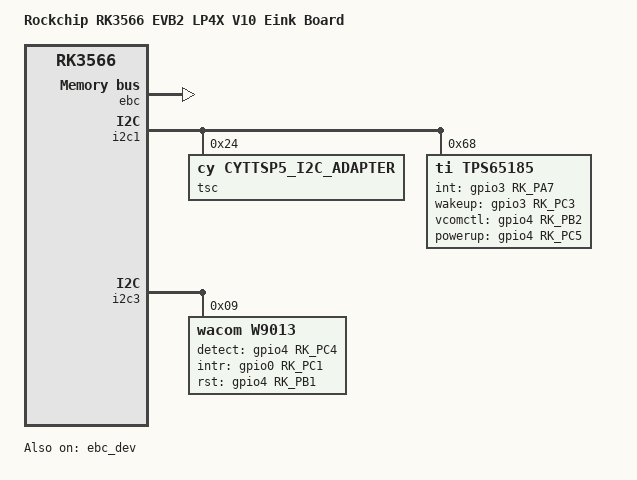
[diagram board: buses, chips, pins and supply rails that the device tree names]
// SPDX-License-Identifier: (GPL-2.0+ OR MIT)
/*
 * Copyright (c) 2020 Rockchip Electronics Co., Ltd.
 *
 */

#include "rk3566-evb2-lp4x-v10.dtsi"
#include "rk3568-android.dtsi"
#include "rk3566-eink.dtsi"

/ {
	model = "Rockchip RK3566 EVB2 LP4X V10 Eink Board";
	compatible = "rockchip,rk3566-evb2-lp4x-v10-eink", "rockchip,rk3566";
};

&backlight {
	status = "disabled";
};

&backlight1 {
	status = "disabled";
};

&dsi0 {
	status = "disabled";
};

&dsi0_in_vp0 {
	status = "disabled";
};

&dsi0_panel {
	status = "disabled";
};

&dsi1_panel {
	status = "disabled";
};

&ebc {
	/* clock rate 1000M/n, (n=1~32) */
	assigned-clocks = <&cru CPLL_333M>, <&cru DCLK_EBC>;
	//assigned-clock-rates = <340000000>, <340000000>;
	assigned-clock-rates = <250000000>, <250000000>;
	//assigned-clock-rates = <100000000>, <100000000>;
	status = "okay";
};

&ebc_dev {
	pmic = <&tps65185>;
	status = "okay";
#if 0
	/* ED097TC2U1 */
	panel,width = <1200>;
	panel,height = <825>;
	panel,vir_width = <1200>;
	panel,vir_height = <825>;
	panel,sdck = <25000000>;
	panel,lsl = <4>;
	panel,lbl = <4>;
	panel,ldl = <300>;
	panel,lel = <36>;
	panel,gdck-sta = <18>;
	panel,lgonl = <265>;
	panel,fsl = <2>;
	panel,fbl = <4>;
	panel,fdl = <825>;
	panel,fel = <24>;
	panel,mirror = <0>;
	panel,panel_16bit = <0>;
	panel,panel_color = <0>;
	panel,width-mm = <203>;
	panel,height-mm = <140>;
#endif
#if 1
	/* ES103TC1 */
	panel,width = <1872>;
	panel,height = <1404>;
	panel,vir_width = <1872>;
	panel,vir_height = <1404>;
	panel,sdck = <33300000>;
	panel,lsl = <18>;
	panel,lbl = <17>;
	panel,ldl = <234>;
	panel,lel = <7>;
	panel,gdck-sta = <34>;
	panel,lgonl = <192>;
	panel,fsl = <1>;
	panel,fbl = <4>;
	panel,fdl = <1404>;
	panel,fel = <12>;
	panel,mirror = <0>;
	panel,panel_16bit = <1>;
	panel,panel_color = <0>;
	panel,width-mm = <157>;
	panel,height-mm = <210>;
#endif
#if 0
	/* ES133TC1 */
	panel,width = <2200>;
	panel,height = <1650>;
	panel,vir_width = <2208>;
	panel,vir_height = <1650>;
	panel,sdck = <37500000>;
	panel,lsl = <4>;
	panel,lbl = <8>;
	panel,ldl = <275>;
	panel,lel = <14>;
	panel,gdck-sta = <34>;
	panel,lgonl = <217>;
	panel,fsl = <1>;
	panel,fbl = <4>;
	panel,fdl = <1650>;
	panel,fel = <6>;
	panel,mirror = <0>;
	panel,panel_16bit = <1>;
	panel,panel_color = <0>;
	panel,width-mm = <157>;
	panel,height-mm = <210>;
#endif
#if 0
	panel,width = <2232>;
	panel,height = <1680>;
	panel,vir_width = <2240>;
	panel,vir_height = <1680>;
	panel,sdck = <33300000>;
	panel,lsl = <4>;
	panel,lbl = <8>;
	panel,ldl = <279>;
	panel,lel = <14>;
	panel,gdck-sta = <34>;
	panel,lgonl = <217>;
	panel,fsl = <1>;
	panel,fbl = <4>;
	panel,fdl = <1680>;
	panel,fel = <6>;
	panel,mirror = <0>;
	panel,panel_16bit = <1>;
	panel,panel_color = <0>;
	panel,width-mm = <157>;
	panel,height-mm = <210>;
#endif
};

&gmac1 {
	status = "disabled";
};

&gt1x {
	status = "disabled";
};

&hdmi {
	status = "disabled";
};

&hdmi_in_vp0 {
	status = "disabled";
};

&hdmi_sound{
	status = "disabled";
};

&i2c1 {
	status = "okay";

	tsc@24 {
		status = "okay";
		compatible = "cy,cyttsp5_i2c_adapter";
		reg = <0x24>;
		cy,adapter_id = "cyttsp5_i2c_adapter";
		//cytp-supply = <&vcc_sd>;
		cy,core {
			cy,name = "cyttsp5_core";
			pinctrl-names = "default";
			pinctrl-0 = <&tsc_gpio>;
			cy,irq_gpio =  <&gpio0 RK_PB5 GPIO_ACTIVE_HIGH>;
			cy,rst_gpio =  <&gpio0 RK_PB6 GPIO_ACTIVE_HIGH>;
			cy,hid_desc_register = <1>;
			/* CY_CORE_FLAG_RESTORE_PARAMETERS */
			cy,flags = <6>;
			/* CY_CORE_EWG_NONE */
			cy,easy_wakeup_gesture = <0>;
			cy,btn_keys = <172 /* KEY_HOMEPAGE */
						/* previously was KEY_HOME, new Android versions use KEY_HOMEPAGE */
						139 /* KEY_MENU */
						158 /* KEY_BACK */
						217 /* KEY_SEARCH */
						114 /* KEY_VOLUMEDOWN */
						115 /* KEY_VOLUMEUP */
						212 /* KEY_CAMERA */
						116>; /* KEY_POWER */
			cy,btn_keys-tag = <0>;
			cy,mt {
				cy,name = "cyttsp5_mt";
				cy,inp_dev_name = "cyttsp5_mt";
				cy,flags = <0>;
				cy,abs =
					/* ABS_MT_POSITION_X, CY_ABS_MIN_X, CY_ABS_MAX_X, 0, 0 */
					<0x35 0 1872 0 0
					/* ABS_MT_POSITION_Y, CY_ABS_MIN_Y, CY_ABS_MAX_Y, 0, 0 */
					0x36 0 1404 0 0
					/* ABS_MT_PRESSURE, CY_ABS_MIN_P, CY_ABS_MAX_P, 0, 0 */
					0x3a 0 255 0 0
					/* CY_IGNORE_VALUE, CY_ABS_MIN_W, CY_ABS_MAX_W, 0, 0 */
					0xffff 0 255 0 0
					/* ABS_MT_TRACKING_ID, CY_ABS_MIN_T, CY_ABS_MAX_T, 0, 0 */
					0x39 0 15 0 0
					/* ABS_MT_TOUCH_MAJOR, 0, 255, 0, 0 */
					0x30 0 255 0 0
					/* ABS_MT_TOUCH_MINOR, 0, 255, 0, 0 */
					0x31 0 255 0 0
					/* ABS_MT_ORIENTATION, -127, 127, 0, 0 */
					0x34 0xffffff81 127 0 0
					/* ABS_MT_TOOL_TYPE, 0, MT_TOOL_MAX, 0, 0 */
					0x37 0 1 0 0
					/* ABS_DISTANCE, 0, 255, 0, 0 */
					0x19 0 255 0 0>;

					cy,vkeys_x = <1872>;
					cy,vkeys_y = <1404>;

					cy,revert_x = <0>;
					cy,revert_y = <0>;
					cy,xy_exchange = <0>;

					cy,virtual_keys = /* KeyCode CenterX CenterY Width Height */
						/* KEY_BACK */
						<158 1360 90 160 180
						/* KEY_MENU */
						139 1360 270 160 180
						/* KEY_HOMEPAGE */
						172 1360 450 160 180
						/* KEY SEARCH */
						217 1360 630 160 180>;
			};

			cy,btn {
				cy,name = "cyttsp5_btn";
				cy,inp_dev_name = "cyttsp5_btn";
			};

			cy,proximity {
				cy,name = "cyttsp5_proximity";
				cy,inp_dev_name = "cyttsp5_proximity";
				cy,abs =
					/* ABS_DISTANCE, CY_PROXIMITY_MIN_VAL, CY_PROXIMITY_MAX_VAL, 0, 0 */
					<0x19 0 1 0 0>;
			};
		};
	};

	tps65185: tps65185@68 {
		status = "okay";
		compatible = "ti,tps65185";
		reg = <0x68>;
		pinctrl-names = "default";
		pinctrl-0 = <&tps65185_gpio>;
		int-gpios = <&gpio3 RK_PA7 GPIO_ACTIVE_HIGH>;
		wakeup-gpios = <&gpio3 RK_PC3 GPIO_ACTIVE_HIGH>;
		vcomctl-gpios = <&gpio4 RK_PB2 GPIO_ACTIVE_HIGH>;
		powerup-gpios = <&gpio4 RK_PC5 GPIO_ACTIVE_HIGH>;
	};
};

&i2c2 {
	status = "disabled";
};

&i2c3 {
	status = "okay";

	wacom: wacom@9 {
		compatible = "wacom,w9013";
		reg = <0x09>;
		pinctrl-names = "default";
		pinctrl-0 = <&wacom_gpio>;
		gpio_detect = <&gpio4 RK_PC4 GPIO_ACTIVE_HIGH>;
		gpio_intr = <&gpio0 RK_PC1 GPIO_ACTIVE_HIGH>;
		gpio_rst = <&gpio4 RK_PB1 GPIO_ACTIVE_HIGH>;
		revert_x = <0>;
		revert_y = <0>;
		xy_exchange = <0>;
	};
};

&video_phy0 {
	status = "disabled";
};

&mxc6655xa {
	status = "disabled";
};

&pinctrl {
	tps_pmic {
		tps65185_gpio: tps65185-gpio {
				rockchip,pins =
						<4 RK_PB2 RK_FUNC_GPIO &pcfg_pull_up>,
						<4 RK_PC5 RK_FUNC_GPIO &pcfg_pull_up>,
						<3 RK_PA7 RK_FUNC_GPIO &pcfg_pull_up>,
						<3 RK_PC3 RK_FUNC_GPIO &pcfg_pull_up>;
		};
	};
	tsc {
		tsc_gpio: tsc-gpio {
				rockchip,pins =
						<0 RK_PB5 RK_FUNC_GPIO &pcfg_pull_up>,
						<0 RK_PB6 RK_FUNC_GPIO &pcfg_pull_up>;
		};
	};
	wacom {
		wacom_gpio: wacom-gpio {
				rockchip,pins =
						<4 RK_PC4 RK_FUNC_GPIO &pcfg_pull_up>,
						<0 RK_PC1 RK_FUNC_GPIO &pcfg_pull_up>,
						<4 RK_PB1 RK_FUNC_GPIO &pcfg_pull_up>;
		};
	};
};

&pmu_io_domains {
	status = "okay";
	pmuio1-supply = <&vcc3v3_pmu>;
	pmuio2-supply = <&vcc3v3_pmu>;
	vccio1-supply = <&vccio_acodec>;
	vccio3-supply = <&vccio_sd>;
	vccio4-supply = <&vcc_1v8>;
	vccio5-supply = <&vcc_3v3>;
	vccio6-supply = <&vcc_3v3>;
	vccio7-supply = <&vcc_3v3>;
};

&vcc_camera {
	status = "disabled";
};

&wireless_bluetooth {
	status = "disabled";
};

&wireless_wlan {
	status = "disabled";
};
